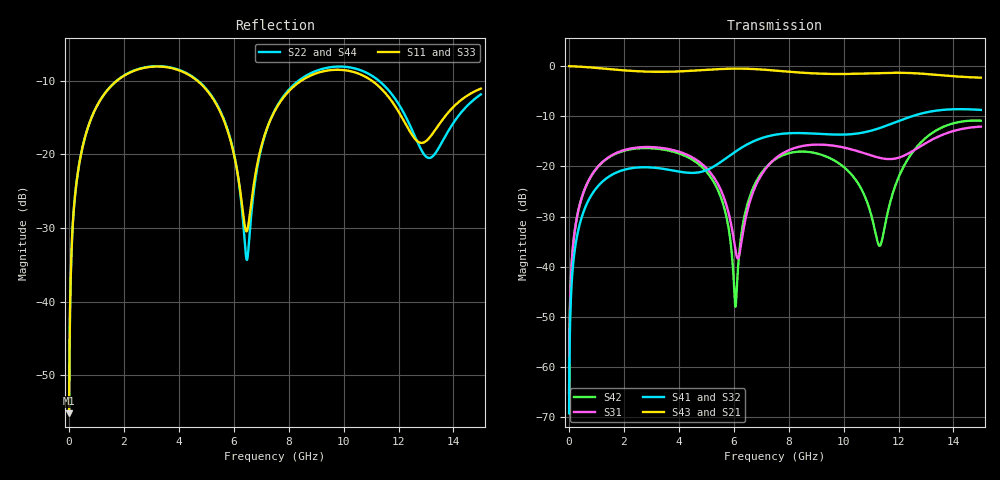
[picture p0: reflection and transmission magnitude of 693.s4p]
! Created with skrf 1.8.0 (http://scikit-rf.org).
# GHz S RI R 50.0
!freq ReS11 ImS11 ReS12 ImS12 ReS13 ImS13
! ReS14 ImS14
! ReS21 ImS21 ReS22 ImS22 ReS23 ImS23
! ReS24 ImS24
! ReS31 ImS31 ReS32 ImS32 ReS33 ImS33
! ReS34 ImS34
! ReS41 ImS41 ReS42 ImS42 ReS43 ImS43
! ReS44 ImS44
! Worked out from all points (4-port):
!   2499 points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, 5 MHz to 15 GHz, reference 50 ohm
!   strongest paths, dB at 5 MHz, 3.476 GHz, 7.19 GHz, 11.1 GHz, 15 GHz:
!     S43: 0.0, -1.1, -0.7, -1.4, -2.3
!     S21: 0.0, -1.1, -0.7, -1.4, -2.3
!     S41: -69.2, -20.5, -14.1, -12.7, -8.7
!     S32: -69.2, -20.6, -14.1, -12.7, -8.9
!     S31: -65.3, -16.4, -20.3, -18.0, -12.1
!     S42: -65.3, -16.7, -20.1, -31.7, -10.9
!   lowest |S11| = -55.2 dB at 5 MHz (marker M1), VSWR 1.00, Z = 50.1 + j0.106 ohm
!   |S11| at or under -10 dB: start of sweep to 1.755 GHz; 4.663 GHz to 8.469 GHz (3.806 GHz wide, 58 % of centre); 11.02 GHz to end of sweep
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0.005  0.00139 0.00106  0.9986 -0.00271  6.87e-05 0.000539  -6.68e-05 -0.000339
       0.9986 -0.00271  0.00139 0.00106  -6.68e-05 -0.000339  6.86e-05 0.000539
       6.87e-05 0.000539  -6.68e-05 -0.000339  0.00139 0.00106  0.9986 -0.00271
       -6.68e-05 -0.000339  6.86e-05 0.000539  0.9986 -0.00271  0.00139 0.00106
0.3126303  0.0181 0.0705  0.9753 -0.1693  0.00813 0.0325  -0.00667 -0.0204
           0.9753 -0.1693  0.0182 0.0705  -0.00666 -0.0204  0.0078 0.0326
           0.00813 0.0325  -0.00666 -0.0204  0.0181 0.0705  0.9753 -0.1693
           -0.00667 -0.0204  0.0078 0.0326  0.9753 -0.1693  0.0182 0.0705
1.569404  0.2232 0.1921  0.6437 -0.6683  0.1103 0.0681  -0.0801 -0.0208
          0.6437 -0.6683  0.2248 0.1913  -0.0799 -0.0209  0.1053 0.0734
          0.1103 0.0681  -0.0799 -0.0209  0.2233 0.1921  0.6437 -0.6683
          -0.0801 -0.0208  0.1053 0.0734  0.6437 -0.6683  0.2247 0.1914
6.058774  0.0456 -0.0773  -0.9075 -0.2598  -0.0127 -0.00794  -0.0324 0.1365
          -0.9075 -0.2598  0.0355 -0.0832  -0.036 0.1355  0.00402 -0.000108
          -0.0127 -0.00794  -0.036 0.1355  0.0444 -0.0777  -0.9075 -0.26
          -0.0324 0.1365  0.00402 -0.000108  -0.9075 -0.26  0.0367 -0.0829
6.490204  0.0301 0.00436  -0.9395 -0.0503  0.000808 0.0356  -0.002 0.1657
          -0.9395 -0.0503  0.0193 0.00189  -0.00632 0.1656  0.0111 0.0397
          0.000808 0.0356  -0.00632 0.1656  0.0288 0.00424  -0.9395 -0.0506
          -0.002 0.1657  0.0111 0.0397  -0.9395 -0.0506  0.0205 0.00158
10.39808  0.3536 -0.0665  0.1531 0.823  0.044 -0.1382  0.1975 -0.0748
          0.1531 0.823  0.3721 -0.0883  0.1994 -0.0657  0.0592 -0.0481
          0.044 -0.1382  0.1994 -0.0657  0.3519 -0.0665  0.1531 0.8241
          0.1975 -0.0748  0.0592 -0.0481  0.1531 0.8241  0.3689 -0.0881
15  0.2735 0.054  0.544 -0.5417  0.2319 0.0911  -0.3175 -0.1816
    0.544 -0.5417  0.245 0.0703  -0.3034 -0.1941  0.2717 0.0876
    0.2319 0.0911  -0.3034 -0.1941  0.2832 0.0533  0.5443 -0.5409
    -0.3175 -0.1816  0.2717 0.0876  0.5443 -0.5409  0.2355 0.0736
